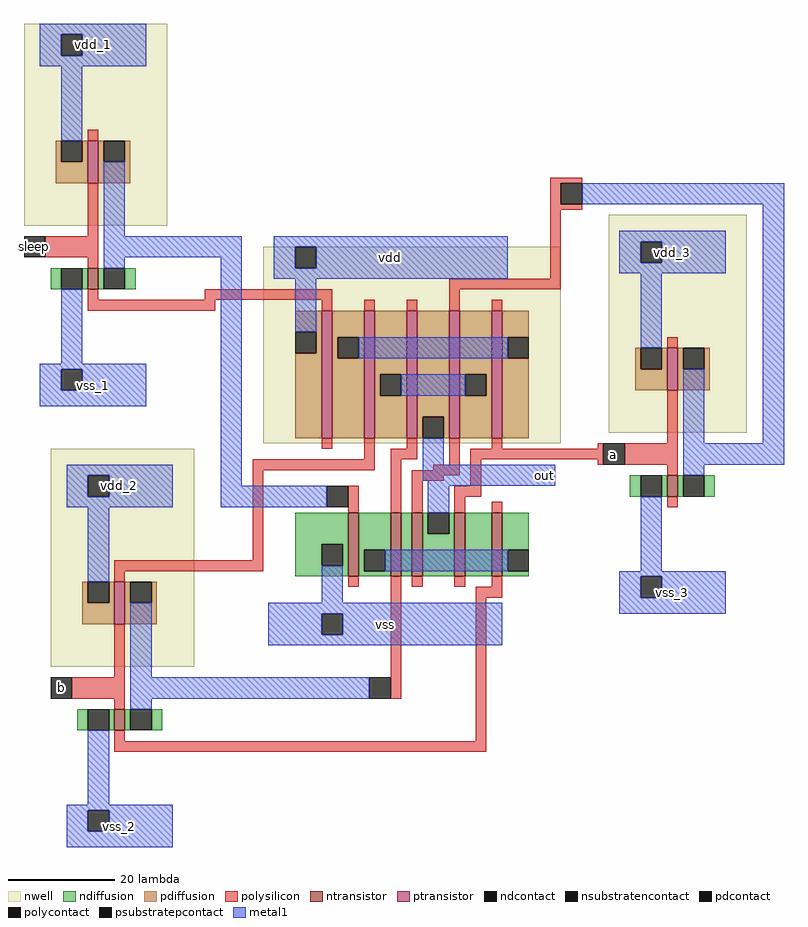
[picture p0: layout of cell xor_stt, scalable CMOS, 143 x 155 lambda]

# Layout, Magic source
magic
tech scmos
<< nwell >>
rect -11 111 16 149
rect 34 70 90 107
rect 99 72 125 113
rect -6 28 21 69
<< polysilicon >>
rect 1 127 3 129
rect 88 119 94 120
rect 1 109 3 119
rect -7 105 3 109
rect 88 115 90 119
rect 88 114 94 115
rect 1 103 3 105
rect 88 101 90 114
rect 69 99 90 101
rect 1 97 3 99
rect 23 97 47 99
rect 1 95 25 97
rect 45 95 47 97
rect 53 95 55 97
rect 61 95 63 97
rect 69 95 71 99
rect 77 95 79 97
rect 110 88 112 90
rect 45 69 47 71
rect 53 67 55 71
rect 61 69 63 71
rect 32 65 55 67
rect 58 67 63 69
rect 32 48 34 65
rect 50 57 52 62
rect 58 57 60 67
rect 69 66 71 71
rect 77 69 79 71
rect 110 70 112 80
rect 97 69 98 70
rect 66 65 71 66
rect 62 64 71 65
rect 73 67 98 69
rect 62 63 68 64
rect 62 57 64 63
rect 73 62 75 67
rect 97 66 98 67
rect 102 66 112 70
rect 110 64 112 66
rect 70 60 75 62
rect 70 57 72 60
rect 77 57 79 59
rect 110 58 112 60
rect 6 46 34 48
rect 6 44 8 46
rect 50 43 52 45
rect 6 26 8 36
rect -2 22 8 26
rect 58 22 60 45
rect 62 43 64 45
rect 70 43 72 45
rect 77 43 79 45
rect 74 41 79 43
rect 6 20 8 22
rect 6 14 8 16
rect 74 14 76 41
rect 6 12 76 14
<< ndiffusion >>
rect -6 99 -4 103
rect 0 99 1 103
rect 3 99 4 103
rect 8 99 10 103
rect 103 60 105 64
rect 109 60 110 64
rect 112 60 113 64
rect 117 60 119 64
rect 40 51 50 57
rect 40 47 45 51
rect 49 47 50 51
rect 40 45 50 47
rect 52 50 58 57
rect 52 46 53 50
rect 57 46 58 50
rect 52 45 58 46
rect 60 45 62 57
rect 64 53 65 57
rect 69 53 70 57
rect 64 45 70 53
rect 72 45 77 57
rect 79 50 84 57
rect 79 46 80 50
rect 79 45 84 46
rect -1 16 1 20
rect 5 16 6 20
rect 8 16 9 20
rect 13 16 15 20
<< pdiffusion >>
rect -5 123 -4 127
rect 0 123 1 127
rect -5 119 1 123
rect 3 123 4 127
rect 8 123 9 127
rect 3 119 9 123
rect 40 91 45 95
rect 44 87 45 91
rect 40 71 45 87
rect 47 90 53 95
rect 47 86 48 90
rect 52 86 53 90
rect 47 71 53 86
rect 55 83 61 95
rect 55 79 56 83
rect 60 79 61 83
rect 55 71 61 79
rect 63 75 69 95
rect 63 71 64 75
rect 68 71 69 75
rect 71 83 77 95
rect 71 79 72 83
rect 76 79 77 83
rect 71 71 77 79
rect 79 90 84 95
rect 79 86 80 90
rect 79 71 84 86
rect 104 84 105 88
rect 109 84 110 88
rect 104 80 110 84
rect 112 84 113 88
rect 117 84 118 88
rect 112 80 118 84
rect 0 40 1 44
rect 5 40 6 44
rect 0 36 6 40
rect 8 40 9 44
rect 13 40 14 44
rect 8 36 14 40
<< metal1 >>
rect -8 147 12 149
rect -8 143 -4 147
rect 0 143 12 147
rect -8 141 12 143
rect -4 127 0 141
rect 4 109 8 123
rect 94 115 132 119
rect 4 105 30 109
rect 4 103 8 105
rect -4 85 0 99
rect -8 84 12 85
rect -8 80 -4 84
rect 0 80 12 84
rect -8 77 12 80
rect -3 64 17 66
rect -3 60 1 64
rect 5 60 17 64
rect -3 58 17 60
rect 26 62 30 105
rect 36 107 80 109
rect 36 103 40 107
rect 44 103 80 107
rect 36 101 80 103
rect 101 108 121 110
rect 101 104 105 108
rect 109 104 121 108
rect 101 102 121 104
rect 40 91 44 101
rect 52 86 80 90
rect 105 88 109 102
rect 60 79 72 83
rect 64 66 68 71
rect 113 70 117 84
rect 128 70 132 115
rect 113 66 132 70
rect 64 63 89 66
rect 113 64 117 66
rect 65 62 89 63
rect 26 58 46 62
rect 1 44 5 58
rect 65 57 69 62
rect 45 40 49 47
rect 57 46 80 50
rect 105 46 109 60
rect 101 45 121 46
rect 101 41 105 45
rect 109 41 121 45
rect 9 26 13 40
rect 35 38 79 40
rect 101 38 121 41
rect 35 34 45 38
rect 49 34 79 38
rect 35 32 79 34
rect 9 22 54 26
rect 9 20 13 22
rect 1 2 5 16
rect -3 1 17 2
rect -3 -3 1 1
rect 5 -3 17 1
rect -3 -6 17 -3
<< ntransistor >>
rect 1 99 3 103
rect 110 60 112 64
rect 50 45 52 57
rect 58 45 60 57
rect 62 45 64 57
rect 70 45 72 57
rect 77 45 79 57
rect 6 16 8 20
<< ptransistor >>
rect 1 119 3 127
rect 45 71 47 95
rect 53 71 55 95
rect 61 71 63 95
rect 69 71 71 95
rect 77 71 79 95
rect 110 80 112 88
rect 6 36 8 44
<< polycontact >>
rect -11 105 -7 109
rect 90 115 94 119
rect 46 58 50 62
rect 98 66 102 70
rect -6 22 -2 26
rect 54 22 58 26
<< ndcontact >>
rect -4 99 0 103
rect 4 99 8 103
rect 105 60 109 64
rect 113 60 117 64
rect 45 47 49 51
rect 53 46 57 50
rect 65 53 69 57
rect 80 46 84 50
rect 1 16 5 20
rect 9 16 13 20
<< pdcontact >>
rect -4 123 0 127
rect 4 123 8 127
rect 40 87 44 91
rect 48 86 52 90
rect 56 79 60 83
rect 64 71 68 75
rect 72 79 76 83
rect 80 86 84 90
rect 105 84 109 88
rect 113 84 117 88
rect 1 40 5 44
rect 9 40 13 44
<< psubstratepcontact >>
rect -4 80 0 84
rect 45 34 49 38
rect 105 41 109 45
rect 1 -3 5 1
<< nsubstratencontact >>
rect -4 143 0 147
rect 40 103 44 107
rect 105 104 109 108
rect 1 60 5 64
<< labels >>
rlabel polycontact 98 66 102 70 5 a
rlabel polycontact -6 22 -2 26 5 b
rlabel metal1 85 62 89 66 3 out
rlabel metal1 35 32 79 40 1 vss
rlabel polycontact -11 105 -7 109 5 sleep
rlabel metal1 36 101 80 109 1 vdd
rlabel metal1 101 38 121 46 1 vss_3
rlabel metal1 -3 -6 17 2 5 vss_2
rlabel nwell -3 58 17 66 1 vdd_2
rlabel metal1 -8 77 12 85 5 vss_1
rlabel nwell -8 141 12 149 1 vdd_1
rlabel nwell 101 102 121 110 1 vdd_3
<< end >>
